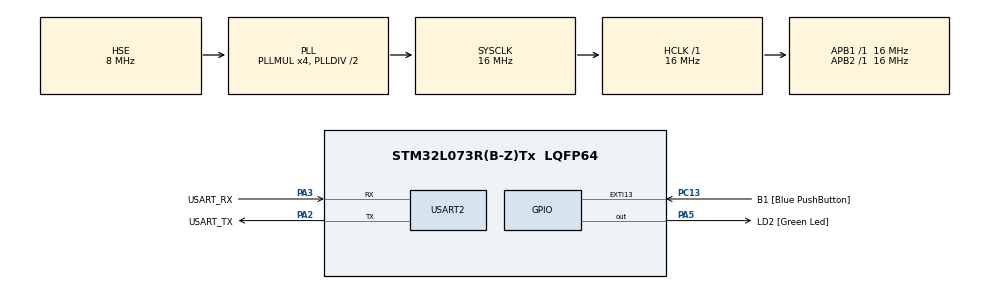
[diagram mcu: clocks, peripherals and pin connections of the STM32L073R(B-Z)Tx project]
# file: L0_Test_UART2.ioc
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Mcu.Family=STM32L0
Mcu.Name=STM32L073R(B-Z)Tx
Mcu.Package=LQFP64
NVIC.USART2_IRQn=true\:0\:0\:false\:false\:true\:true
PA13.GPIO_Label=TMS
PA13.Mode=Serial_Wire
PA13.Signal=SYS_SWDIO
PA14.GPIO_Label=TCK
PA14.Mode=Serial_Wire
PA14.Signal=SYS_SWCLK
PA2.GPIO_Label=USART_TX
PA2.Mode=Asynchronous
PA2.Signal=USART2_TX
PA3.GPIO_Label=USART_RX
PA3.Mode=Asynchronous
PA3.Signal=USART2_RX
PA5.GPIO_Label=LD2 [Green Led]
PA5.Signal=GPIO_Output
PC13.GPIO_Label=B1 [Blue PushButton]
PC13.GPIO_ModeDefaultEXTI=GPIO_MODE_IT_FALLING
PC13.Signal=GPXTI13
PC14-OSC32_IN.Mode=LSE-External-Oscillator
PC14-OSC32_IN.Signal=RCC_OSC32_IN
PC15-OSC32_OUT.Mode=LSE-External-Oscillator
PC15-OSC32_OUT.Signal=RCC_OSC32_OUT
PH0-OSC_IN.GPIO_Label=MCO
PH0-OSC_IN.Mode=HSE-External-Clock-Source
PH0-OSC_IN.Signal=RCC_OSC_IN
ProjectManager.HeapSize=0x200
ProjectManager.StackSize=0x400
ProjectManager.TargetToolchain=TrueSTUDIO
RCC.AHBFreq_Value=16000000
RCC.APB1Freq_Value=16000000
RCC.APB1TimFreq_Value=16000000
RCC.APB2Freq_Value=16000000
RCC.APB2TimFreq_Value=16000000
RCC.HCLKFreq_Value=16000000
RCC.HSE_VALUE=8000000
RCC.HSI16_VALUE=16000000
RCC.HSI48_VALUE=48000000
RCC.HSI_VALUE=16000000
RCC.MSI_VALUE=2097000
RCC.PLLMUL=RCC_PLLMUL_4
RCC.PLLSourceVirtual=RCC_PLLSOURCE_HSE
RCC.SYSCLKFreq_VALUE=16000000
RCC.SYSCLKSource=RCC_SYSCLKSOURCE_PLLCLK
RCC.VCOOutputFreq_Value=32000000
USART2.VirtualMode-Asynchronous=VM_ASYNC
board=NUCLEO-L073RZ

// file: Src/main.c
/* USER CODE BEGIN Header */
/**
  ******************************************************************************
  * @file           : main.c
  * @brief          : Main program body
  ******************************************************************************
  ** This notice applies to any and all portions of this file
  * that are not between comment pairs USER CODE BEGIN and
  * USER CODE END. Other portions of this file, whether
  * inserted by the user or by software development tools
  * are owned by their respective copyright owners.
  *
  * COPYRIGHT(c) 2018 STMicroelectronics
  *
  * Redistribution and use in source and binary forms, with or without modification,
  * are permitted provided that the following conditions are met:
  *   1. Redistributions of source code must retain the above copyright notice,
  *      this list of conditions and the following disclaimer.
  *   2. Redistributions in binary form must reproduce the above copyright notice,
  *      this list of conditions and the following disclaimer in the documentation
  *      and/or other materials provided with the distribution.
  *   3. Neither the name of STMicroelectronics nor the names of its contributors
  *      may be used to endorse or promote products derived from this software
  *      without specific prior written permission.
  *
  * THIS SOFTWARE IS PROVIDED BY THE COPYRIGHT HOLDERS AND CONTRIBUTORS "AS IS"
  * AND ANY EXPRESS OR IMPLIED WARRANTIES, INCLUDING, BUT NOT LIMITED TO, THE
  * IMPLIED WARRANTIES OF MERCHANTABILITY AND FITNESS FOR A PARTICULAR PURPOSE ARE
  * DISCLAIMED. IN NO EVENT SHALL THE COPYRIGHT HOLDER OR CONTRIBUTORS BE LIABLE
  * FOR ANY DIRECT, INDIRECT, INCIDENTAL, SPECIAL, EXEMPLARY, OR CONSEQUENTIAL
  * DAMAGES (INCLUDING, BUT NOT LIMITED TO, PROCUREMENT OF SUBSTITUTE GOODS OR
  * SERVICES; LOSS OF USE, DATA, OR PROFITS; OR BUSINESS INTERRUPTION) HOWEVER
  * CAUSED AND ON ANY THEORY OF LIABILITY, WHETHER IN CONTRACT, STRICT LIABILITY,
  * OR TORT (INCLUDING NEGLIGENCE OR OTHERWISE) ARISING IN ANY WAY OUT OF THE USE
  * OF THIS SOFTWARE, EVEN IF ADVISED OF THE POSSIBILITY OF SUCH DAMAGE.
  *
  ******************************************************************************
  */
/* USER CODE END Header */

#include "main.h"
#include "usart.h"
#include "gpio.h"

/* USER CODE BEGIN Includes */
#include <stdbool.h>
#include <string.h>
#include <stdio.h>
/* USER CODE END Includes */

/* USER CODE BEGIN PV */
#define RX_BUFF_SIZE	8
/* USER CODE END PV */

void SystemClock_Config(void);
/* USER CODE BEGIN PFP */
struct UART2_Rx
{
	bool fullFlag;
	bool cmdReady;
	uint8_t count;
	uint8_t buff[RX_BUFF_SIZE];
};

struct UART2_Rx tempBuff;
uint8_t* ptrTempBuff = &tempBuff.buff[0];

char strBuff[128];
bool softReset = false;
bool pinReset = false;
bool porReset = false;

uint8_t goCmd[] = "go";
uint8_t rstCmd[] = "reset";
uint8_t reply[] = "\r\nLED Toggled...\r\n>";
uint8_t prompt[] = "\r\n>";
uint8_t cmdFail[] = "\r\nCommand not recognised...\r\n>";
/* USER CODE END PFP */

/* USER CODE BEGIN 0 */
void printInfo()
{
	HAL_StatusTypeDef status = HAL_OK;

	uint16_t flashSize = READ_REG(*((uint16_t *)FLASHSIZE_BASE));

	int HalVersion = HAL_GetHalVersion();
	int RevID = HAL_GetREVID();
	int DevID = HAL_GetDEVID();
	int UIDw0 = HAL_GetUIDw0();
	int UIDw1 = HAL_GetUIDw1();
	int UIDw2 = HAL_GetUIDw2();
	int HCLKF = HAL_RCC_GetHCLKFreq();

	// Wait for connection to Tera Term (or whatever) before printing
	HAL_Delay(500);

	if(pinReset)
	{
		sprintf(&strBuff[0], "\r\nPin triggered reset occurred...");
		status = HAL_UART_Transmit(&huart2, (uint8_t*)&strBuff[0], strlen(strBuff),100);
		assert_param(status == HAL_OK);
	}

	if(softReset)
	{
		sprintf(&strBuff[0], "\r\nSoftware triggered reset occurred...");
		status = HAL_UART_Transmit(&huart2, (uint8_t*)&strBuff[0], strlen(strBuff),100);
		assert_param(status == HAL_OK);
	}

	if(porReset)
	{
		sprintf(&strBuff[0], "\r\nPower on reset occurred...");
		status = HAL_UART_Transmit(&huart2, (uint8_t*)&strBuff[0], strlen(strBuff),100);
		assert_param(status == HAL_OK);
	}

	sprintf(&strBuff[0], "\r\n\r\nSTM32 HAL : L0_V%d.%d.%d (RC-%d)\r\n",
		   (HalVersion >> 24),
		   (HalVersion >> 16) & 0xFF,
		   (HalVersion >> 8) & 0xFF,
		    HalVersion & 0xFF);

	// Blocking calls used deliberately
	status = HAL_UART_Transmit(&huart2, (uint8_t*)&strBuff[0], strlen(strBuff),100);
	assert_param(status == HAL_OK);
	sprintf(&strBuff[0], "Flash     : %d Kbytes\r\n", flashSize);
	status = HAL_UART_Transmit(&huart2, (uint8_t*)&strBuff[0], strlen(strBuff),100);
	assert_param(status == HAL_OK);
	sprintf(&strBuff[0], "UID       : %d%d%d\r\n", UIDw2, UIDw1, UIDw0);
	status = HAL_UART_Transmit(&huart2, (uint8_t*)&strBuff[0], strlen(strBuff),100);
	assert_param(status == HAL_OK);
	sprintf(&strBuff[0], "Dev ID    : 0x%03x\r\n", DevID);
	status = HAL_UART_Transmit(&huart2, (uint8_t*)&strBuff[0], strlen(strBuff),100);
	assert_param(status == HAL_OK);
	sprintf(&strBuff[0], "Rev ID    : 0x%04x\r\n", RevID);
	status = HAL_UART_Transmit(&huart2, (uint8_t*)&strBuff[0], strlen(strBuff),100);
	assert_param(status == HAL_OK);
	sprintf(&strBuff[0], "HCLK      : %d Hz\r\n\n>", HCLKF);
	status = HAL_UART_Transmit(&huart2, (uint8_t*)&strBuff[0], strlen(strBuff),100);
	assert_param(status == HAL_OK);
}

void HAL_UART_RxCpltCallback(UART_HandleTypeDef *huart)
{
  HAL_StatusTypeDef status = HAL_OK;

  if(huart->Instance == USART2)
  {
	  // We can accept the character
	  if( (tempBuff.count < RX_BUFF_SIZE) && (tempBuff.fullFlag == false))
	  {
		  // It's the end of a command
		  if(tempBuff.buff[tempBuff.count] == '\r')
		  {
			  // Disable interrupts until we have processed the command
			  status = HAL_UART_Abort(huart);
			  assert_param(status == HAL_OK);

			  // Signal we have a command and reset pointer
			  tempBuff.cmdReady = true;
			  ptrTempBuff = &tempBuff.buff[0];
		  }
		  else // Assume character is good
		  {
			  tempBuff.count += 1;
			  ptrTempBuff++;
			  // Enable reception again
			  status = HAL_UART_Receive_IT(huart, ptrTempBuff, sizeof(uint8_t));
			  assert_param(status == HAL_OK);
		  }
	  }
	  else // We can't accept it so start again
	  {
		  // We ran out of buffer before getting a command!
		  status = HAL_UART_Abort(huart);
		  assert_param(status == HAL_OK);

		  // Signal an error condition, reset pointer
		  tempBuff.fullFlag = true;
		  ptrTempBuff = &tempBuff.buff[0];
	  }
  }
}
/* USER CODE END 0 */

int main(void)
{
  /* USER CODE BEGIN 1 */
  HAL_StatusTypeDef status = HAL_OK;
  uint8_t response[] = "\r\nbuffer overflow\r\n>";
  tempBuff.fullFlag = false;
  tempBuff.cmdReady = false;
  tempBuff.count = 0;
  memset(&tempBuff.buff, 0x00, sizeof(tempBuff.buff));

  /* USER CODE END 1 */

  /* MCU Configuration--------------------------------------------------------*/

  /* Reset of all peripherals, Initializes the Flash interface and the Systick. */
  HAL_Init();

  /* Configure the system clock */
  SystemClock_Config();

  /* USER CODE BEGIN SysInit */
  // See whether we have been reset and how it occurred
  if __HAL_RCC_GET_FLAG(RCC_FLAG_SFTRST)   //TODO:Add more reset reasons
  {
    softReset = true;
  }
  if __HAL_RCC_GET_FLAG(RCC_FLAG_PINRST)
  {
	pinReset = true;
  }
  if __HAL_RCC_GET_FLAG(RCC_FLAG_PORRST)
  {
	porReset = true;
  }

  // Clear the reset flags
  __HAL_RCC_CLEAR_RESET_FLAGS();

  /* USER CODE END SysInit */

  /* Initialize all configured peripherals */
  MX_GPIO_Init();
  MX_USART2_UART_Init();
  /* USER CODE BEGIN 2 */

  // Begin reception
  status = HAL_UART_Receive_IT(&huart2, &tempBuff.buff[0], sizeof(uint8_t));
  assert_param(status == HAL_OK);

  printInfo();
  /* USER CODE END 2 */

  /* Infinite loop */
  /* USER CODE BEGIN WHILE */
  while (1)
  {
	HAL_Delay(5);

	if(tempBuff.fullFlag == true)
	{
		// By this point the UART interrupts have been disabled
		// Send error message
		status = HAL_UART_Transmit_IT(&huart2, &response[0], sizeof(response));
		assert_param(status == HAL_OK);

		// Clear full flag, count, and buffer
		tempBuff.count = 0;
		tempBuff.fullFlag = false;
		memset(&tempBuff.buff, 0x00, sizeof(tempBuff.buff));

		// Enable reception again
		status = HAL_UART_Receive_IT(&huart2, &tempBuff.buff[0], sizeof(uint8_t));
		assert_param(status == HAL_OK);
	}
	if(tempBuff.cmdReady == true)
	{
		// By this point the UART interrupts have been disabled
		// We know the count so turn the end to a null terminator
		tempBuff.buff[tempBuff.count] = '\0';

		if(tempBuff.count > 0)
		{
			// We have at least one character plus CR, so process
			if(strcmp((const char*)goCmd, (const char*)tempBuff.buff) == 0)
			{
				// Do something and give a response
				HAL_GPIO_TogglePin(LD2_GPIO_Port, LD2_Pin);
				status = HAL_UART_Transmit_IT(&huart2, &reply[0], sizeof(reply));
				assert_param(status == HAL_OK);
			}
			else if(strcmp((const char*)rstCmd, (const char*)tempBuff.buff) == 0)
			{
				sprintf(&strBuff[0], "\r\nResetting MCU...\r\n");
				// Deliberately blocking so we don't reset half way through the message
				status = HAL_UART_Transmit(&huart2, (uint8_t*)&strBuff[0], strlen(strBuff),100);
				assert_param(status == HAL_OK);
				NVIC_SystemReset();
			}
			else
			{
				// Inform that the command is not recognised
				status = HAL_UART_Transmit_IT(&huart2, &cmdFail[0], sizeof(cmdFail));
				assert_param(status == HAL_OK);
			}
		}
		else
		{
			// Nothing to process, so just give a prompt
			status = HAL_UART_Transmit_IT(&huart2, &prompt[0], sizeof(prompt));
			assert_param(status == HAL_OK);
		}

		// Clear ready flag, count, and buffer
		tempBuff.count = 0;
		tempBuff.cmdReady = false;
		memset(&tempBuff.buff, 0x00, sizeof(tempBuff.buff));

		// Enable reception again
		status = HAL_UART_Receive_IT(&huart2, &tempBuff.buff[0], sizeof(uint8_t));
		assert_param(status == HAL_OK);
	}

  }
    /* USER CODE END WHILE */

}

void SystemClock_Config(void)
{
  RCC_OscInitTypeDef RCC_OscInitStruct = {0};
  RCC_ClkInitTypeDef RCC_ClkInitStruct = {0};
  RCC_PeriphCLKInitTypeDef PeriphClkInit = {0};

  /**Configure the main internal regulator output voltage
  */
  __HAL_PWR_VOLTAGESCALING_CONFIG(PWR_REGULATOR_VOLTAGE_SCALE1);
  /**Initializes the CPU, AHB and APB busses clocks
  */
  RCC_OscInitStruct.OscillatorType = RCC_OSCILLATORTYPE_HSE;
  RCC_OscInitStruct.HSEState = RCC_HSE_BYPASS;
  RCC_OscInitStruct.PLL.PLLState = RCC_PLL_ON;
  RCC_OscInitStruct.PLL.PLLSource = RCC_PLLSOURCE_HSE;
  RCC_OscInitStruct.PLL.PLLMUL = RCC_PLLMUL_4;
  RCC_OscInitStruct.PLL.PLLDIV = RCC_PLLDIV_2;
  if (HAL_RCC_OscConfig(&RCC_OscInitStruct) != HAL_OK)
  {
    Error_Handler();
  }
  /**Initializes the CPU, AHB and APB busses clocks
  */
  RCC_ClkInitStruct.ClockType = RCC_CLOCKTYPE_HCLK|RCC_CLOCKTYPE_SYSCLK
                              |RCC_CLOCKTYPE_PCLK1|RCC_CLOCKTYPE_PCLK2;
  RCC_ClkInitStruct.SYSCLKSource = RCC_SYSCLKSOURCE_PLLCLK;
  RCC_ClkInitStruct.AHBCLKDivider = RCC_SYSCLK_DIV1;
  RCC_ClkInitStruct.APB1CLKDivider = RCC_HCLK_DIV1;
  RCC_ClkInitStruct.APB2CLKDivider = RCC_HCLK_DIV1;

  if (HAL_RCC_ClockConfig(&RCC_ClkInitStruct, FLASH_LATENCY_0) != HAL_OK)
  {
    Error_Handler();
  }
  PeriphClkInit.PeriphClockSelection = RCC_PERIPHCLK_USART2;
  PeriphClkInit.Usart2ClockSelection = RCC_USART2CLKSOURCE_PCLK1;
  if (HAL_RCCEx_PeriphCLKConfig(&PeriphClkInit) != HAL_OK)
  {
    Error_Handler();
  }
}

void Error_Handler(void)
{
}

#ifdef  USE_FULL_ASSERT
/**
  * @brief  Reports the name of the source file and the source line number
  *         where the assert_param error has occurred.
  * @param  file: pointer to the source file name
  * @param  line: assert_param error line source number
  * @retval None
  */
void assert_failed(uint8_t *file, uint32_t line)
{
  /* USER CODE BEGIN 6 */
  /* User can add his own implementation to report the file name and line number,
     tex: printf("Wrong parameters value: file %s on line %d\r\n", file, line) */
	sprintf(&strBuff[0], "\r\nAssert Failed: file %s on line %d\r\n", file, (int)line);
	HAL_UART_Transmit(&huart2, (uint8_t*)&strBuff[0], strlen(strBuff),100);
  /* USER CODE END 6 */
}
#endif /* USE_FULL_ASSERT */

/************************ (C) COPYRIGHT STMicroelectronics *****END OF FILE****/
